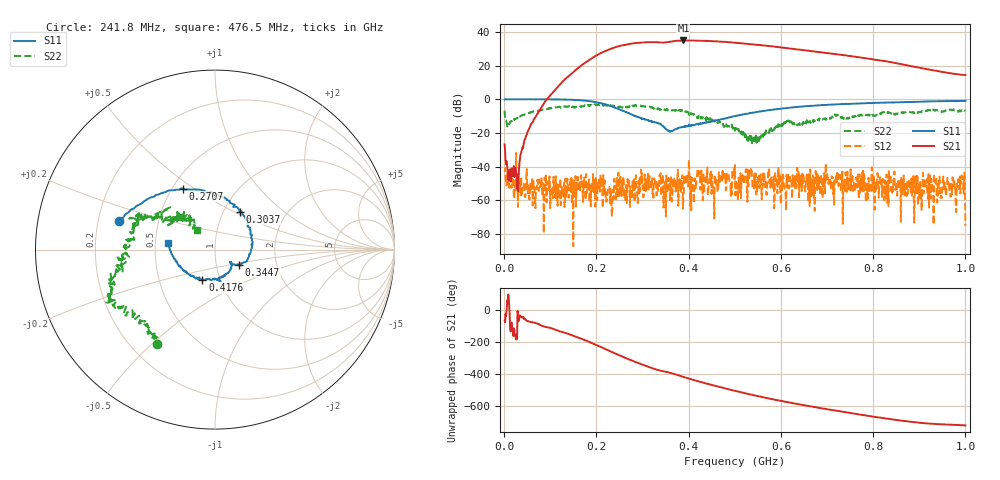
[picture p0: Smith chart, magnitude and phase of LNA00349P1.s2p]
! Created with skrf 1.9.0 (http://scikit-rf.org).
# Hz S RI R 50.0
!freq ReS11 ImS11 ReS21 ImS21 ReS12 ImS12 ReS22 ImS22
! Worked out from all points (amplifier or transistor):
!   1001 points, 1 MHz to 1 GHz, reference 50 ohm
!   highest |S21| = 34.9 dB at 388.6 MHz (marker M1)
!   |S21| within 3 dB of that: 254.9 MHz to 563.3 MHz (308.4 MHz wide, 75.4 % of centre)
!   unconditionally stable (mu >= 1): 3.613 MHz to 87.01 MHz; 298.8 MHz to 400.3 MHz; 401.1 MHz to end of sweep (the widest 3 of 30)
!   at 166.8 MHz: K = 0.78, MSG = 32.6 dB, |S12| = -45.2 dB
!   at 500.5 MHz: K = 1.11, MAG = 34.4 dB, |S12| = -39.1 dB
!   at 1 GHz: K = 84.69, MAG = 22.5 dB, |S12| = -75.2 dB
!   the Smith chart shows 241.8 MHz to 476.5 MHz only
!   S11 on the Smith chart (normalised r, x): 241.8 MHz: 0.29, +0.13; 270.7 MHz: 0.56, +0.45; 303.7 MHz: 1.19, +0.54; 344.7 MHz: 1.29, -0.22; 417.6 MHz: 0.82, -0.29; 476.5 MHz: 0.59, +0.05
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1000000  0.978 0.00787  0.0203 -0.0408  -0.00603 -0.00361  0.3671 0.2768
1.08892e8  0.5074 -0.8557  -0.8556 -1.572  0.000384 -0.00172  0.4243 -0.373
1.67833e8  -0.2585 -0.8892  -10.25 -0.3478  -0.00261 0.000459  0.0213 -0.6158
2.08792e8  -0.6761 -0.3721  -15.5 17.31  -0.00536 -0.000576  -0.2102 -0.6602
2.41759e8  -0.5326 0.1591  0.6202 35.46  -0.00215 0.00125  -0.3206 -0.525
2.7073e8  -0.1805 0.3401  26.2 34.85  -0.00203 0.00218  -0.5116 -0.3618
3.03697e8  0.1382 0.2112  47.04 13.41  -0.00103 -0.00123  -0.5698 -0.2175
3.34666e8  0.1895 -0.039  47.69 -11.97  -0.000433 0.00233  -0.5215 -0.0589
3.44656e8  0.1341 -0.0833  44.84 -17.54  -0.00167 0.00254  -0.5012 0.00877
3.68632e8  0.0923 -0.0814  42.54 -32.77  0.000781 0.003  -0.4493 0.1467
3.88612e8  0.0594 -0.1395  30.85 -46.59  0.0014 0.000611  -0.4041 0.1887
4.17583e8  -0.07 -0.168  8.353 -54.53  0.00221 0.00414  -0.2507 0.1849
4.45555e8  -0.1875 -0.1012  -12.39 -52.17  0.00241 0.00215  -0.1764 0.1729
4.76524e8  -0.26 0.0395  -30.38 -40.61  0.00612 -0.00308  -0.102 0.1098
5.005e8  -0.2626 0.1758  -38.77 -28.31  0.0102 -0.00442  -0.0997 0.0587
5.39461e8  -0.1784 0.3605  -42.05 -7.655  0.00228 0.00143  -0.0627 0.00043
5.85415e8  0.0276 0.495  -34.93 11.36  0.000568 4.99e-05  -0.1122 -0.051
6.25375e8  0.2198 0.5307  -23.98 20.26  0.00126 -0.00539  -0.151 -0.0985
6.67333e8  0.4192 0.481  -12.38 23.59  0.0014 0.00148  -0.216 -0.0511
7.55245e8  0.6912 0.256  4.577 18.18  -0.00449 -0.00278  -0.3108 0.0214
8.34166e8  0.7997 -0.00172  9.8 8.488  -0.00692 0.00243  -0.4071 0.0258
1e9  0.7154 -0.5418  5.234 0.0231  0.000172 -1.9e-05  -0.2722 0.3703
